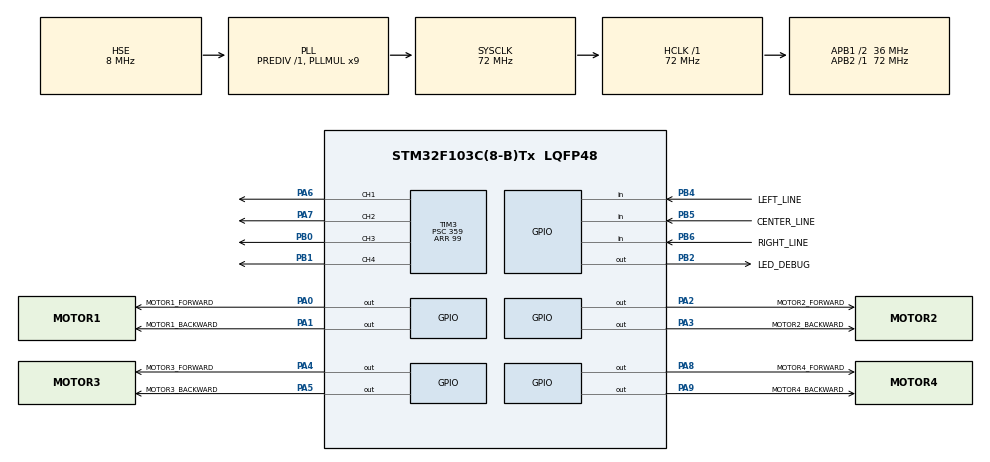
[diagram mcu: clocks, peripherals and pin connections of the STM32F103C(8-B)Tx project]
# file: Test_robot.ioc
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Mcu.Family=STM32F1
Mcu.Name=STM32F103C(8-B)Tx
Mcu.Package=LQFP48
NVIC.PriorityGroup=NVIC_PRIORITYGROUP_4
NVIC.TIM2_IRQn=true\:0\:0\:false\:false\:true\:true\:true\:true
PA0-WKUP.GPIO_Label=MOTOR1_FORWARD
PA0-WKUP.Signal=GPIO_Output
PA1.GPIO_Label=MOTOR1_BACKWARD
PA1.Signal=GPIO_Output
PA13.Mode=Serial_Wire
PA13.Signal=SYS_JTMS-SWDIO
PA14.Mode=Serial_Wire
PA14.Signal=SYS_JTCK-SWCLK
PA2.GPIO_Label=MOTOR2_FORWARD
PA2.Signal=GPIO_Output
PA3.GPIO_Label=MOTOR2_BACKWARD
PA3.Signal=GPIO_Output
PA4.GPIO_Label=MOTOR3_FORWARD
PA4.Signal=GPIO_Output
PA5.GPIO_Label=MOTOR3_BACKWARD
PA5.Signal=GPIO_Output
PA6.Signal=S_TIM3_CH1
PA7.Signal=S_TIM3_CH2
PA8.GPIO_Label=MOTOR4_FORWARD
PA8.Signal=GPIO_Output
PA9.GPIO_Label=MOTOR4_BACKWARD
PA9.Signal=GPIO_Output
PB0.Signal=S_TIM3_CH3
PB1.Signal=S_TIM3_CH4
PB2.GPIO_Label=LED_DEBUG
PB2.Signal=GPIO_Output
PB4.GPIO_Label=LEFT_LINE
PB4.Signal=GPIO_Input
PB5.GPIO_Label=CENTER_LINE
PB5.Signal=GPIO_Input
PB6.GPIO_Label=RIGHT_LINE
PB6.Signal=GPIO_Input
PD0-OSC_IN.Mode=HSE-External-Oscillator
PD0-OSC_IN.Signal=RCC_OSC_IN
PD1-OSC_OUT.Mode=HSE-External-Oscillator
PD1-OSC_OUT.Signal=RCC_OSC_OUT
ProjectManager.HeapSize=0x200
ProjectManager.StackSize=0x400
ProjectManager.TargetToolchain=STM32CubeIDE
RCC.AHBFreq_Value=72000000
RCC.APB1CLKDivider=RCC_HCLK_DIV2
RCC.APB1Freq_Value=36000000
RCC.APB1TimFreq_Value=72000000
RCC.APB2Freq_Value=72000000
RCC.APB2TimFreq_Value=72000000
RCC.HCLKFreq_Value=72000000
RCC.PLLMUL=RCC_PLL_MUL9
RCC.PLLSourceVirtual=RCC_PLLSOURCE_HSE
RCC.SYSCLKFreq_VALUE=72000000
RCC.SYSCLKSource=RCC_SYSCLKSOURCE_PLLCLK
RCC.USBFreq_Value=72000000
SH.S_TIM3_CH1.0=TIM3_CH1,PWM Generation1 CH1
SH.S_TIM3_CH2.0=TIM3_CH2,PWM Generation2 CH2
SH.S_TIM3_CH3.0=TIM3_CH3,PWM Generation3 CH3
SH.S_TIM3_CH4.0=TIM3_CH4,PWM Generation4 CH4
TIM2.Period=999
TIM2.Prescaler=71
TIM3.Channel-PWM\ Generation1\ CH1=TIM_CHANNEL_1
TIM3.Channel-PWM\ Generation2\ CH2=TIM_CHANNEL_2
TIM3.Channel-PWM\ Generation3\ CH3=TIM_CHANNEL_3
TIM3.Channel-PWM\ Generation4\ CH4=TIM_CHANNEL_4
TIM3.Period=99
TIM3.Prescaler=359
VP_TIM2_VS_ClockSourceINT.Mode=Internal
VP_TIM3_VS_ClockSourceINT.Mode=Internal
board=custom

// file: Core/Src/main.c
/* USER CODE BEGIN Header */
/**
  ******************************************************************************
  * @file           : main.c
  * @brief          : Main program body
  ******************************************************************************
  * @attention
  *
  * Copyright (c) 2024 STMicroelectronics.
  * All rights reserved.
  *
  * This software is licensed under terms that can be found in the LICENSE file
  * in the root directory of this software component.
  * If no LICENSE file comes with this software, it is provided AS-IS.
  *
  ******************************************************************************
  */
/* USER CODE END Header */
#include "main.h"
#include "tim.h"
#include "gpio.h"

/* USER CODE BEGIN Includes */
#include "software_timer.h"
#include "motor.h"
#include "sensor.h"
/* USER CODE END Includes */

void SystemClock_Config(void);
/* USER CODE BEGIN PFP */
void system_init();
void test_led();
void test_motor();
/* USER CODE END PFP */

int main(void)
{

  /* MCU Configuration--------------------------------------------------------*/

  /* Reset of all peripherals, Initializes the Flash interface and the Systick. */
  HAL_Init();

  /* Configure the system clock */
  SystemClock_Config();

  /* Initialize all configured peripherals */
  MX_GPIO_Init();
  MX_TIM2_Init();
  MX_TIM3_Init();
  /* USER CODE BEGIN 2 */
  system_init();
  /* USER CODE END 2 */

  /* Infinite loop */
  /* USER CODE BEGIN WHILE */
  while (1)
  {
	  while(!timer2_flag);
	  timer2_flag = 0;
	  test_led();
	  getLineSensor();
	  lineFollow();
	  motor_run();
//	  test_motor();
//	  testing();

    /* USER CODE END WHILE */

  }
}

void SystemClock_Config(void)
{
  RCC_OscInitTypeDef RCC_OscInitStruct = {0};
  RCC_ClkInitTypeDef RCC_ClkInitStruct = {0};

  /** Initializes the RCC Oscillators according to the specified parameters
  * in the RCC_OscInitTypeDef structure.
  */
  RCC_OscInitStruct.OscillatorType = RCC_OSCILLATORTYPE_HSE;
  RCC_OscInitStruct.HSEState = RCC_HSE_ON;
  RCC_OscInitStruct.HSEPredivValue = RCC_HSE_PREDIV_DIV1;
  RCC_OscInitStruct.HSIState = RCC_HSI_ON;
  RCC_OscInitStruct.PLL.PLLState = RCC_PLL_ON;
  RCC_OscInitStruct.PLL.PLLSource = RCC_PLLSOURCE_HSE;
  RCC_OscInitStruct.PLL.PLLMUL = RCC_PLL_MUL9;
  if (HAL_RCC_OscConfig(&RCC_OscInitStruct) != HAL_OK)
  {
    Error_Handler();
  }

  /** Initializes the CPU, AHB and APB buses clocks
  */
  RCC_ClkInitStruct.ClockType = RCC_CLOCKTYPE_HCLK|RCC_CLOCKTYPE_SYSCLK
                              |RCC_CLOCKTYPE_PCLK1|RCC_CLOCKTYPE_PCLK2;
  RCC_ClkInitStruct.SYSCLKSource = RCC_SYSCLKSOURCE_PLLCLK;
  RCC_ClkInitStruct.AHBCLKDivider = RCC_SYSCLK_DIV1;
  RCC_ClkInitStruct.APB1CLKDivider = RCC_HCLK_DIV2;
  RCC_ClkInitStruct.APB2CLKDivider = RCC_HCLK_DIV1;

  if (HAL_RCC_ClockConfig(&RCC_ClkInitStruct, FLASH_LATENCY_2) != HAL_OK)
  {
    Error_Handler();
  }
}

/* USER CODE BEGIN 4 */
void system_init(){
	timer2_init();
	timer2_set(50);
	motor_init();
}

int led_debug_counter = 0;
void test_led(){
	led_debug_counter++;
	if(led_debug_counter == 20){
		led_debug_counter = 0;
		HAL_GPIO_TogglePin(LED_DEBUG_GPIO_Port, LED_DEBUG_Pin);
	}
}

int count_motor = 0;
int status_motor = 0;
void test_motor(){
	count_motor = (count_motor+1)%20;
	if(count_motor != 0) return;
	switch(status_motor){
	case 0:
		Stop();
		status_motor = 1;
		break;
	case 1:
		RunForward();
		status_motor = 2;
		break;
	case 2:
		Stop();
		status_motor = 3;
		break;
	case 3:
		RunBackward();
		status_motor = 0;
		break;
	}
	motor_run();
}
/* USER CODE END 4 */

void Error_Handler(void)
{
  __disable_irq();
  while (1)
  {
  }
}
